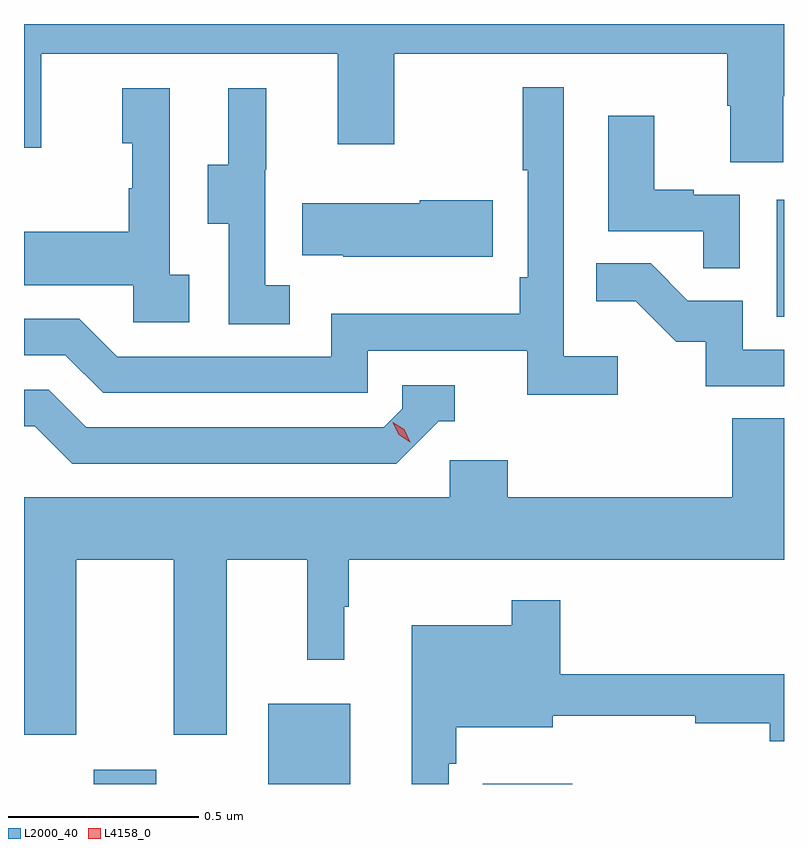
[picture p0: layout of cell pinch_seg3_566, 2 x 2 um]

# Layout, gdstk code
import gdstk
lib = gdstk.Library(unit=1e-6, precision=1e-09)
def R(c, l, rs):  # rectangles x0, y0, x1, y1
    for r in rs: c.add(gdstk.rectangle(r[:2], r[2:], *l))
def P(c, l, *ps):  # polygons
    for p in ps: c.add(gdstk.Polygon(p, *l))
L2000_40 = (2000, 40)
L4158_0 = (4158, 0)

pinch_seg3_566 = lib.new_cell('pinch_seg3_566')
R(pinch_seg3_566, L2000_40, [(1104.623,702.99,1104.787,703.027), (1105.082,702.99,1105.297,703.201), (1105.646,702.99,1105.882,702.991), (1106.42,704.22,1106.439,704.527)])
P(pinch_seg3_566, L2000_40, [(1106.437,704.8),(1106.439,704.8),(1106.439,704.99),(1104.439,704.99),(1104.439,704.664),(1104.485,704.664),(1104.485,704.912),(1105.265,704.912),(1105.265,704.673),(1105.413,704.673),(1105.413,704.912),(1106.29,704.912),(1106.29,704.775),(1106.297,704.775),(1106.297,704.626),(1106.437,704.626)],
  [(1106.002,704.116),(1105.86,704.116),(1105.86,704.824),(1105.752,704.824),(1105.752,704.605),(1105.764,704.605),(1105.764,704.323),(1105.744,704.323),(1105.744,704.227),(1105.248,704.227),(1105.248,704.115),(1104.684,704.115),(1104.585,704.214),(1104.439,704.214),(1104.439,704.118),(1104.548,704.118),(1104.647,704.019),(1105.344,704.019),(1105.344,704.13),(1105.763,704.13),(1105.763,704.014),(1106.002,704.014)],
  [(1105.138,704.303),(1105.074,704.303),(1105.074,704.607),(1105.076,704.607),(1105.076,704.821),(1104.977,704.821),(1104.977,704.619),(1104.923,704.619),(1104.923,704.464),(1104.978,704.464),(1104.978,704.2),(1105.138,704.2)],
  [(1104.874,704.33),(1104.822,704.33),(1104.822,704.821),(1104.698,704.821),(1104.698,704.676),(1104.724,704.676),(1104.724,704.558),(1104.714,704.558),(1104.714,704.443),(1104.439,704.443),(1104.439,704.303),(1104.726,704.303),(1104.726,704.205),(1104.874,704.205)],
  [(1106.322,704.541),(1106.201,704.541),(1106.201,704.554),(1106.098,704.554),(1106.098,704.749),(1105.976,704.749),(1105.976,704.445),(1106.227,704.445),(1106.227,704.347),(1106.322,704.347)],
  [(1105.672,704.526),(1105.481,704.526),(1105.481,704.518),(1105.171,704.518),(1105.171,704.381),(1105.279,704.381),(1105.279,704.378),(1105.672,704.378)],
  [(1106.439,704.133),(1106.331,704.133),(1106.331,704.262),(1106.186,704.262),(1106.088,704.36),(1105.945,704.36),(1105.945,704.261),(1106.049,704.261),(1106.156,704.154),(1106.233,704.154),(1106.233,704.037),(1106.439,704.037)],
  [(1105.53,703.944),(1105.573,703.944),(1105.573,704.04),(1105.434,704.04),(1105.434,703.977),(1105.386,703.929),(1104.603,703.929),(1104.504,704.028),(1104.439,704.028),(1104.439,703.932),(1104.467,703.932),(1104.566,703.833),(1105.419,703.833)],
  [(1104.577,703.58),(1104.833,703.58),(1104.833,703.119),(1104.973,703.119),(1104.973,703.58),(1105.184,703.58),(1105.184,703.317),(1105.282,703.317),(1105.282,703.457),(1105.294,703.457),(1105.294,703.58),(1106.439,703.58),(1106.439,703.952),(1106.303,703.952),(1106.303,703.744),(1105.712,703.744),(1105.712,703.842),(1105.56,703.842),(1105.56,703.744),(1104.439,703.744),(1104.439,703.119),(1104.577,703.119)],
  [(1105.557,703.043),(1105.577,703.043),(1105.577,703.139),(1105.831,703.139),(1105.831,703.169),(1106.206,703.169),(1106.206,703.15),(1106.402,703.15),(1106.402,703.103),(1106.439,703.103),(1106.439,703.279),(1105.85,703.279),(1105.85,703.474),(1105.722,703.474),(1105.722,703.408),(1105.46,703.408),(1105.46,702.99),(1105.557,702.99)])
P(pinch_seg3_566, L4158_0, [(1105.456,703.89),(1105.425,703.909),(1105.409,703.942),(1105.409,703.942),(1105.409,703.942),(1105.44,703.923),(1105.456,703.89),(1105.456,703.89)])

lib.write_gds('pinch_seg3_566.gds')
